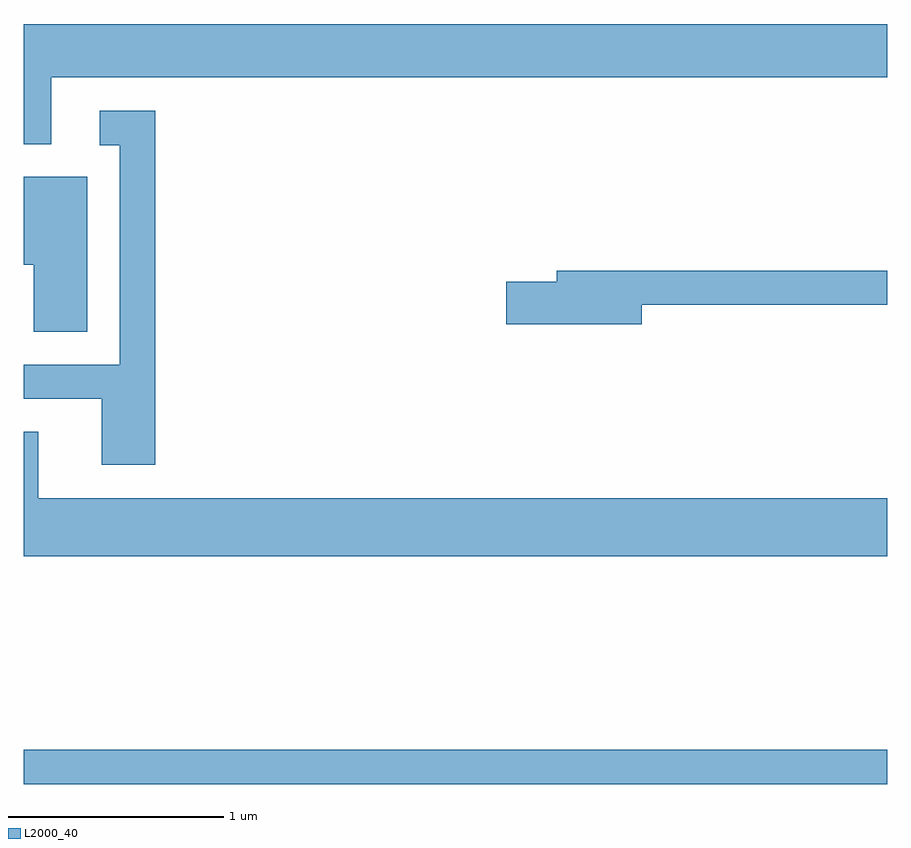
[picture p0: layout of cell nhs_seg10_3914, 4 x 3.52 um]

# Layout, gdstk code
import gdstk
lib = gdstk.Library(unit=1e-6, precision=1e-09)
def R(c, l, rs):  # rectangles x0, y0, x1, y1
    for r in rs: c.add(gdstk.rectangle(r[:2], r[2:], *l))
def P(c, l, *ps):  # polygons
    for p in ps: c.add(gdstk.Polygon(p, *l))
L2000_40 = (2000, 40)

nhs_seg10_3914 = lib.new_cell('nhs_seg10_3914')
R(nhs_seg10_3914, L2000_40, [(299.611,2195.001,303.611,2195.159)])
P(nhs_seg10_3914, L2000_40, [(299.739,2198.276),(303.611,2198.276),(303.611,2198.522),(299.611,2198.522),(299.611,2197.966),(299.739,2197.966)],
  [(300.219,2198.119),(299.963,2198.119),(299.963,2197.961),(300.056,2197.961),(300.056,2196.944),(299.611,2196.944),(299.611,2196.786),(299.971,2196.786),(299.971,2196.481),(300.219,2196.481)],
  [(299.904,2197.814),(299.611,2197.814),(299.611,2197.406),(299.656,2197.406),(299.656,2197.096),(299.904,2197.096)],
  [(302.474,2197.221),(303.611,2197.221),(303.611,2197.379),(302.081,2197.379),(302.081,2197.329),(301.846,2197.329),(301.846,2197.131),(302.474,2197.131)],
  [(303.611,2196.324),(299.679,2196.324),(299.679,2196.634),(299.611,2196.634),(299.611,2196.056),(303.611,2196.056)])

lib.write_gds('nhs_seg10_3914.gds')
